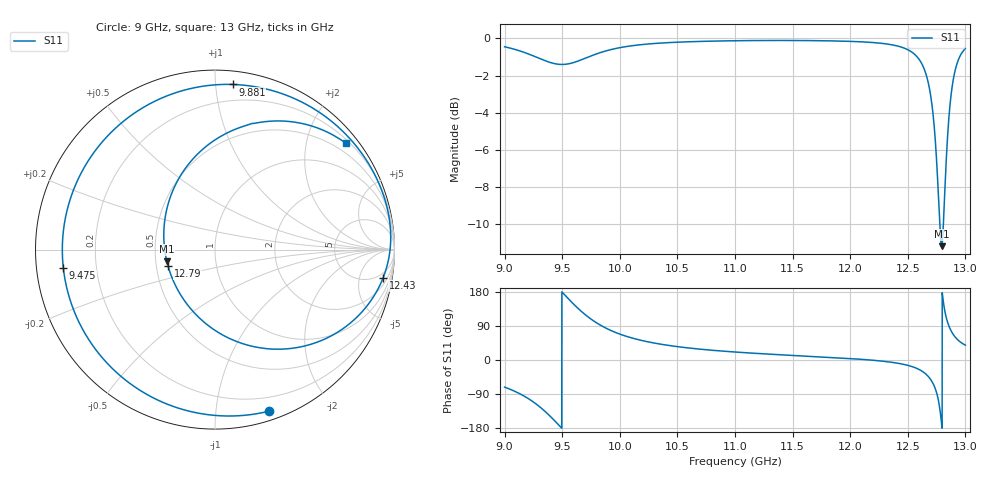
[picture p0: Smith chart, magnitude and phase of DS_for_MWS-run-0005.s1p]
! TOUCHSTONE file generated by CST DESIGN STUDIO
! Date and time: Tue Feb  4 13:24:50 2025
! Project name: C:\Work\MatlabApps\UnitCellOptimizationMatlab\CST\unitcell.cst
! Tree item: Tasks\Sweep1\SPara1\S-Parameters
! Header version: 2024
! Port assignment regex: !\s*Touchstone port\s*([0-9]+)\s*=\s*(CST MWS port|CST DES external port|CST DES block port)\s*(.+)\s* \(\"(.*)\"\)(\s*mode\s*([0-9]+))?.*
! Touchstone port assignment:
! Touchstone port 1 = CST DES external port 1 ("")
# GHz S MA R 50
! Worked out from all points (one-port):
!   4001 points, 9 GHz to 13 GHz, reference 50 ohm
!   lowest |S11| = -11.2 dB at 12.79 GHz (marker M1), VSWR 1.76, Z = 28.6 - j4.05 ohm
!   |S11| at or under -10 dB: 12.77729 GHz to 12.80885 GHz (31.56 MHz wide, 0.247 % of centre)
!   S11 on the Smith chart (normalised r, x): 9 GHz: 0.08, -1.38; 9.475 GHz: 0.08, -0.06; 9.881 GHz: 0.09, +1.11; 12.43 GHz: 3, -11; 12.79 GHz: 0.58, -0.11; 13 GHz: 0.28, +2.78
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9  0.9491 -71.6
9.153  0.9206 -92.4
9.266  0.8926 -114.4
9.366  0.8673 -139.8
9.475  0.8512 -173.2
9.5  0.8507 178.8
9.582  0.8578 152.6
9.686  0.8805 123.1
9.775  0.9028 102.7
9.881  0.9254 83.9
10  0.9438 68.4
10.215  0.9636 49.8
10.5  0.9764 35.3
11  0.9852 21.1
11.5  0.9868 12.1
12  0.9813 3.8
12.431  0.9499 -9.5
12.5  0.932 -14.1
12.631  0.8428 -31.0
12.676  0.7637 -42.8
12.715  0.6426 -59.6
12.754  0.4461 -90.7
12.791  0.2771 -160.9
12.793  0.2762 -166.3
12.825  0.4118 123.8
12.872  0.6882 79.3
12.932  0.8639 53.7
13  0.9393 39.2
